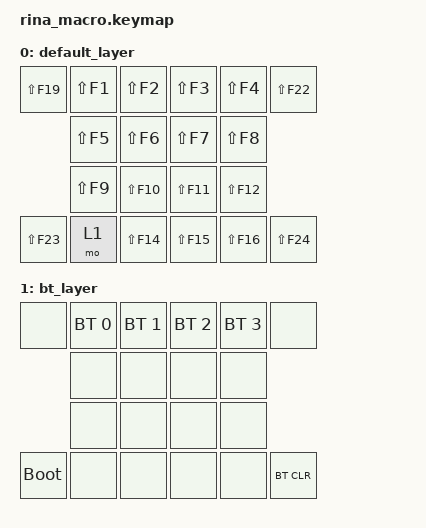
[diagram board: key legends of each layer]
#include <behaviors.dtsi>
#include <dt-bindings/zmk/keys.h>
#include <dt-bindings/zmk/bt.h>

/{
    keymap {
        compatible = "zmk,keymap";

        default_layer {
            bindings = <
            &kp LS(F19)     &kp LS(F1)       &kp LS(F2)       &kp LS(F3)       &kp LS(F4)       &kp LS(F22)
                            &kp LS(F5)       &kp LS(F6)       &kp LS(F7)       &kp LS(F8) 
                            &kp LS(F9)       &kp LS(F10)      &kp LS(F11)      &kp LS(F12)
            &kp LS(F23)     &mo 1            &kp LS(F14)      &kp LS(F15)      &kp LS(F16)      &kp LS(F24)
            >;
        };

        bt_layer {
            bindings = <
            &none           &bt BT_SEL 0     &bt BT_SEL 1     &bt BT_SEL 2     &bt BT_SEL 3     &none
                            &none            &none            &none            &none 
                            &none            &none            &none            &none 
            &bootloader     &none            &none            &none            &none            &bt BT_CLR
            >;
        };
    };
};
